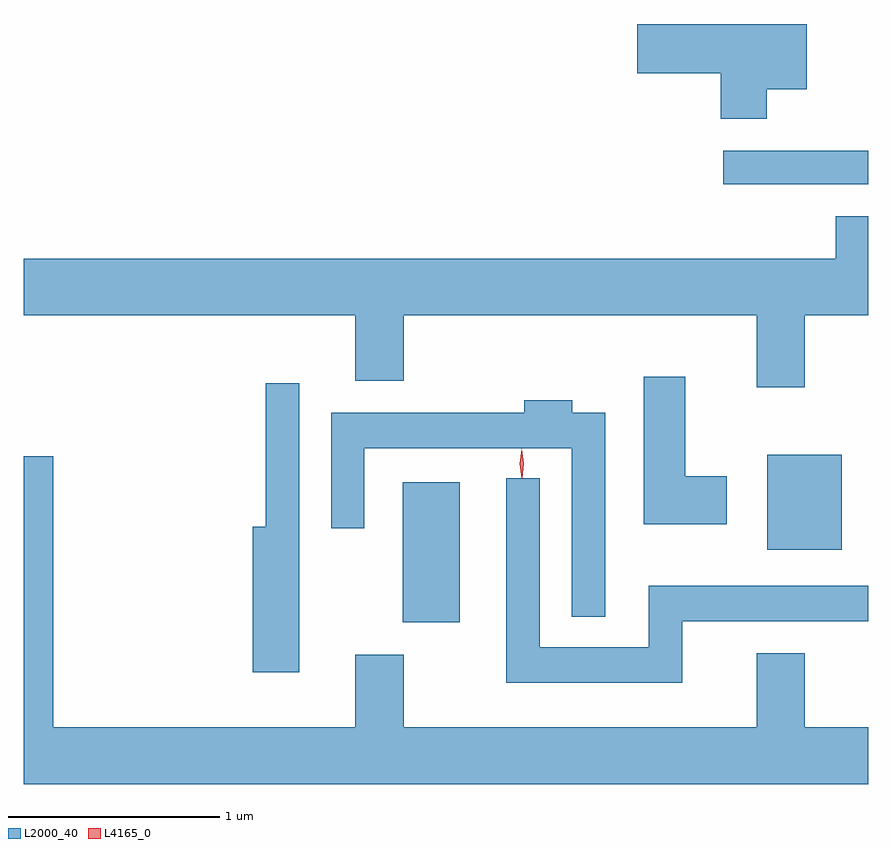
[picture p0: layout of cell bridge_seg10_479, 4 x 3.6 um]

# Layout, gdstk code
import gdstk
lib = gdstk.Library(unit=1e-6, precision=1e-09)
def R(c, l, rs):  # rectangles x0, y0, x1, y1
    for r in rs: c.add(gdstk.rectangle(r[:2], r[2:], *l))
def P(c, l, *ps):  # polygons
    for p in ps: c.add(gdstk.Polygon(p, *l))
L2000_40 = (2000, 40)
L4165_0 = (4165, 0)

bridge_seg10_479 = lib.new_cell('bridge_seg10_479')
R(bridge_seg10_479, L2000_40, [(878.676,2167.961,878.944,2168.624), (880.401,2168.306,880.754,2168.754), (880.193,2170.036,880.88,2170.194)])
P(bridge_seg10_479, L2000_40, [(880.399,2170.486),(880.589,2170.486),(880.589,2170.795),(879.786,2170.795),(879.786,2170.561),(880.181,2170.561),(880.181,2170.346),(880.399,2170.346)],
  [(880.579,2169.416),(880.88,2169.416),(880.88,2169.884),(880.726,2169.884),(880.726,2169.684),(876.88,2169.684),(876.88,2169.416),(878.451,2169.416),(878.451,2169.106),(878.679,2169.106),(878.679,2169.416),(880.351,2169.416),(880.351,2169.076),(880.579,2169.076)],
  [(880.209,2168.654),(880.014,2168.654),(880.014,2169.124),(879.816,2169.124),(879.816,2168.426),(880.209,2168.426)],
  [(878.184,2169.093),(878.026,2169.093),(878.026,2168.414),(877.966,2168.414),(877.966,2167.726),(878.184,2167.726)],
  [(879.634,2168.954),(879.479,2168.954),(879.479,2169.014),(879.251,2169.014),(879.251,2168.954),(878.336,2168.954),(878.336,2168.408),(878.494,2168.408),(878.494,2168.786),(879.476,2168.786),(879.476,2167.988),(879.634,2167.988)],
  [(880.88,2167.464),(880.579,2167.464),(880.579,2167.814),(880.351,2167.814),(880.351,2167.464),(878.679,2167.464),(878.679,2167.809),(878.451,2167.809),(878.451,2167.464),(877.019,2167.464),(877.019,2168.749),(876.88,2168.749),(876.88,2167.196),(880.88,2167.196)],
  [(879.999,2167.966),(880.88,2167.966),(880.88,2168.134),(879.841,2168.134),(879.841,2167.844),(879.324,2167.844),(879.324,2168.643),(879.166,2168.643),(879.166,2167.676),(879.999,2167.676)])
P(bridge_seg10_479, L4165_0, [(879.239,2168.644),(879.239,2168.644),(879.229,2168.713),(879.238,2168.782),(879.239,2168.783),(879.239,2168.782),(879.249,2168.713),(879.24,2168.644)],
  [(879.239,2168.647),(879.239,2168.648),(879.229,2168.713),(879.238,2168.78),(879.238,2168.78),(879.238,2168.78),(879.249,2168.714),(879.24,2168.648)])

lib.write_gds('bridge_seg10_479.gds')
